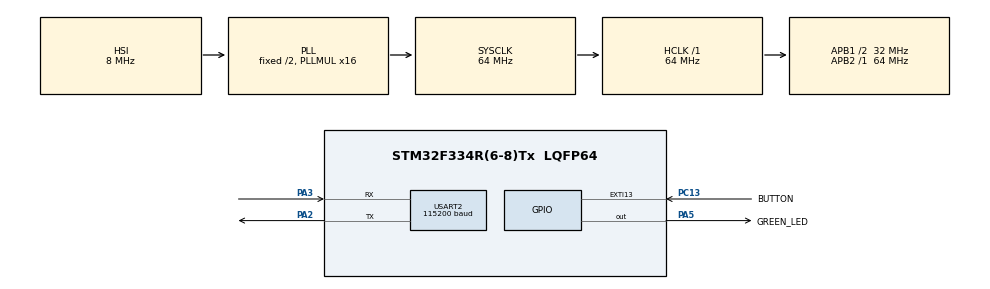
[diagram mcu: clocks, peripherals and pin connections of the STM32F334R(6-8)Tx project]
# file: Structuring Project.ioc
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Mcu.Family=STM32F3
Mcu.Name=STM32F334R(6-8)Tx
Mcu.Package=LQFP64
NVIC.EXTI15_10_IRQn=true\:0\:0\:false\:false\:false\:true\:false\:true
NVIC.PriorityGroup=NVIC_PRIORITYGROUP_0
NVIC.USART2_IRQn=true\:0\:0\:false\:false\:false\:true\:false\:true
PA2.Mode=Asynchronous
PA2.Signal=USART2_TX
PA3.Mode=Asynchronous
PA3.Signal=USART2_RX
PA5.GPIO_Label=GREEN_LED
PA5.Signal=GPIO_Output
PC13.GPIO_Label=BUTTON
PC13.GPIO_ModeDefaultEXTI=GPIO_MODE_IT_FALLING
PC13.Signal=GPXTI13
ProjectManager.HeapSize=0x200
ProjectManager.StackSize=0x400
ProjectManager.TargetToolchain=STM32CubeIDE
RCC.AHBFreq_Value=64000000
RCC.APB1CLKDivider=RCC_HCLK_DIV2
RCC.APB1Freq_Value=32000000
RCC.APB1TimFreq_Value=64000000
RCC.APB2Freq_Value=64000000
RCC.APB2TimFreq_Value=64000000
RCC.CortexFreq_Value=64000000
RCC.FLatency-AdvancedSettings=FLASH_LATENCY_2
RCC.HCLKFreq_Value=64000000
RCC.HSE_VALUE=8000000
RCC.HSI_VALUE=8000000
RCC.LSE_VALUE=32768
RCC.PLLMUL=RCC_PLL_MUL16
RCC.SYSCLKFreq_VALUE=64000000
RCC.SYSCLKSourceVirtual=RCC_SYSCLKSOURCE_PLLCLK
USART2.BaudRate=115200
USART2.VirtualMode-Asynchronous=VM_ASYNC
board=NUCLEO-F334R8

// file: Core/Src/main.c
/* USER CODE BEGIN Header */
/**
  ******************************************************************************
  * @file           : main.c
  * @brief          : Main program body
  ******************************************************************************
  * @attention
  *
  * Copyright (c) 2024 STMicroelectronics.
  * All rights reserved.
  *
  * This software is licensed under terms that can be found in the LICENSE file
  * in the root directory of this software component.
  * If no LICENSE file comes with this software, it is provided AS-IS.
  *
  ******************************************************************************
  */
/* USER CODE END Header */
#include "main.h"
#include "periph_uart.h"

/* USER CODE BEGIN Includes */
#include <stdio.h>
#include <stdbool.h>
#include <string.h>
/* USER CODE END Includes */

UART_HandleTypeDef huart2;

/* USER CODE BEGIN PV */
static bool flag_s = false;

static const char *it_works_s = "IT'S WORKING!\r\n";

/* USER CODE END PV */

void SystemClock_Config(void);
static void MX_GPIO_Init(void);
static void MX_USART2_UART_Init(void);

int main(void)
{

  /* MCU Configuration--------------------------------------------------------*/

  /* Reset of all peripherals, Initializes the Flash interface and the Systick. */
  HAL_Init();

  /* Configure the system clock */
  SystemClock_Config();

  /* Initialize all configured peripherals */
  MX_GPIO_Init();
  MX_USART2_UART_Init();
  /* USER CODE BEGIN 2 */

  if (periph_uart_init(&huart2) == false)
  {
	  assert(false);
  }

  /* USER CODE END 2 */

  /* Infinite loop */
  while (1)
  {

    /* USER CODE BEGIN 3 */
	  // Code kept in place from the Interrupt tutorial. Operated by pressing the user button.
	  if (flag_s == true)
	  {
		  periph_uart_send_tx_data(&huart2, it_works_s, 100);
		  flag_s = false;
	  }
  }
  /* USER CODE END 3 */
}

void SystemClock_Config(void)
{
  RCC_OscInitTypeDef RCC_OscInitStruct = {0};
  RCC_ClkInitTypeDef RCC_ClkInitStruct = {0};

  /** Initializes the RCC Oscillators according to the specified parameters
  * in the RCC_OscInitTypeDef structure.
  */
  RCC_OscInitStruct.OscillatorType = RCC_OSCILLATORTYPE_HSI;
  RCC_OscInitStruct.HSIState = RCC_HSI_ON;
  RCC_OscInitStruct.HSICalibrationValue = RCC_HSICALIBRATION_DEFAULT;
  RCC_OscInitStruct.PLL.PLLState = RCC_PLL_ON;
  RCC_OscInitStruct.PLL.PLLSource = RCC_PLLSOURCE_HSI;
  RCC_OscInitStruct.PLL.PLLMUL = RCC_PLL_MUL16;
  if (HAL_RCC_OscConfig(&RCC_OscInitStruct) != HAL_OK)
  {
    Error_Handler();
  }

  /** Initializes the CPU, AHB and APB buses clocks
  */
  RCC_ClkInitStruct.ClockType = RCC_CLOCKTYPE_HCLK|RCC_CLOCKTYPE_SYSCLK
                              |RCC_CLOCKTYPE_PCLK1|RCC_CLOCKTYPE_PCLK2;
  RCC_ClkInitStruct.SYSCLKSource = RCC_SYSCLKSOURCE_PLLCLK;
  RCC_ClkInitStruct.AHBCLKDivider = RCC_SYSCLK_DIV1;
  RCC_ClkInitStruct.APB1CLKDivider = RCC_HCLK_DIV2;
  RCC_ClkInitStruct.APB2CLKDivider = RCC_HCLK_DIV1;

  if (HAL_RCC_ClockConfig(&RCC_ClkInitStruct, FLASH_LATENCY_2) != HAL_OK)
  {
    Error_Handler();
  }
}

static void MX_USART2_UART_Init(void)
{

  huart2.Instance = USART2;
  huart2.Init.BaudRate = 115200;
  huart2.Init.WordLength = UART_WORDLENGTH_8B;
  huart2.Init.StopBits = UART_STOPBITS_1;
  huart2.Init.Parity = UART_PARITY_NONE;
  huart2.Init.Mode = UART_MODE_TX_RX;
  huart2.Init.HwFlowCtl = UART_HWCONTROL_NONE;
  huart2.Init.OverSampling = UART_OVERSAMPLING_16;
  huart2.Init.OneBitSampling = UART_ONE_BIT_SAMPLE_DISABLE;
  huart2.AdvancedInit.AdvFeatureInit = UART_ADVFEATURE_NO_INIT;
  if (HAL_UART_Init(&huart2) != HAL_OK)
  {
    Error_Handler();
  }

}

static void MX_GPIO_Init(void)
{
  GPIO_InitTypeDef GPIO_InitStruct = {0};

  /* GPIO Ports Clock Enable */
  __HAL_RCC_GPIOC_CLK_ENABLE();
  __HAL_RCC_GPIOA_CLK_ENABLE();

  /*Configure GPIO pin Output Level */
  HAL_GPIO_WritePin(GREEN_LED_GPIO_Port, GREEN_LED_Pin, GPIO_PIN_RESET);

  /*Configure GPIO pin : BUTTON_Pin */
  GPIO_InitStruct.Pin = BUTTON_Pin;
  GPIO_InitStruct.Mode = GPIO_MODE_IT_FALLING;
  GPIO_InitStruct.Pull = GPIO_NOPULL;
  HAL_GPIO_Init(BUTTON_GPIO_Port, &GPIO_InitStruct);

  /*Configure GPIO pin : GREEN_LED_Pin */
  GPIO_InitStruct.Pin = GREEN_LED_Pin;
  GPIO_InitStruct.Mode = GPIO_MODE_OUTPUT_PP;
  GPIO_InitStruct.Pull = GPIO_NOPULL;
  GPIO_InitStruct.Speed = GPIO_SPEED_FREQ_LOW;
  HAL_GPIO_Init(GREEN_LED_GPIO_Port, &GPIO_InitStruct);

  /* EXTI interrupt init*/
  HAL_NVIC_SetPriority(EXTI15_10_IRQn, 0, 0);
  HAL_NVIC_EnableIRQ(EXTI15_10_IRQn);

}

/* USER CODE BEGIN 4 */
/**
  * @brief This function handles EXTI line[15:10] interrupts.
  */
void EXTI15_10_IRQHandler(void)
{
  /* USER CODE BEGIN EXTI15_10_IRQn 0 */
	flag_s = true;
  /* USER CODE END EXTI15_10_IRQn 0 */
  HAL_GPIO_EXTI_IRQHandler(BUTTON_Pin);
  /* USER CODE BEGIN EXTI15_10_IRQn 1 */

  /* USER CODE END EXTI15_10_IRQn 1 */
}

// The following 3 functions are used for implementing the UART Interrupts.
// The first function is called when the UART receives data over the UART and subsequently routes to the callback function HAL_UART_RxCpltCallback.
// The callback function HAL_UART_RxCpltCallback can be used to process the UART Rx data.
/**
  * @brief This function handles USART2 global interrupt / USART2 wake-up interrupt through EXT line 26.
  */
void USART2_IRQHandler(void)
{
  /* USER CODE BEGIN USART2_IRQn 0 */

	// The interrupt handler for the UART must be added here for the interrupt callback functions to be processed.
	HAL_UART_IRQHandler(&huart2);

  /* USER CODE END USART2_IRQn 0 */
  /* USER CODE BEGIN USART2_IRQn 1 */

  /* USER CODE END USART2_IRQn 1 */
}

void HAL_UART_TxCpltCallback(UART_HandleTypeDef *huart)
{
	periph_uart_handle_tx_int_data(huart);
}

void HAL_UART_RxCpltCallback(UART_HandleTypeDef *huart)
{
	periph_uart_handle_rx_int_data(huart);
}

/* USER CODE END 4 */

void Error_Handler(void)
{
  __disable_irq();
  while (1)
  {
  }
}
